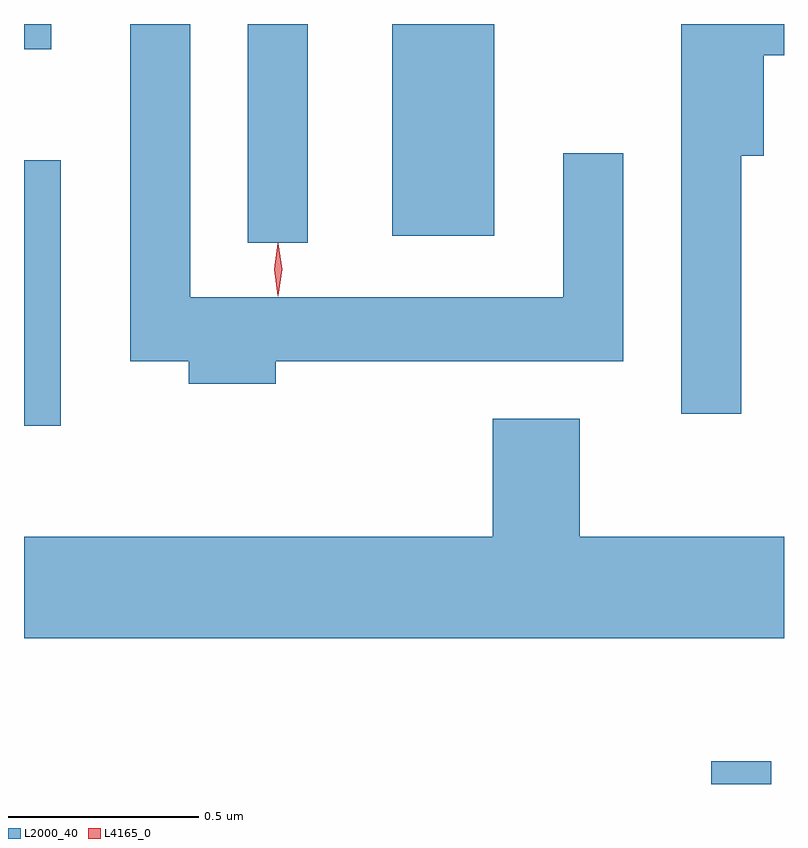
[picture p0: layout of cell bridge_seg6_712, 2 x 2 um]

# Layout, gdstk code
import gdstk
lib = gdstk.Library(unit=1e-6, precision=1e-09)
def R(c, l, rs):  # rectangles x0, y0, x1, y1
    for r in rs: c.add(gdstk.rectangle(r[:2], r[2:], *l))
def P(c, l, *ps):  # polygons
    for p in ps: c.add(gdstk.Polygon(p, *l))
L2000_40 = (2000, 40)
L4165_0 = (4165, 0)

bridge_seg6_712 = lib.new_cell('bridge_seg6_712')
R(bridge_seg6_712, L2000_40, [(308.966,1578.513,309.124,1578.573), (307.157,1579.456,307.254,1580.154), (307.746,1579.938,307.904,1580.513), (308.126,1579.956,308.394,1580.513), (307.157,1580.446,307.229,1580.513)])
P(bridge_seg6_712, L2000_40, [(307.819,1579.626),(308.734,1579.626),(308.734,1580.173),(308.576,1580.173),(308.576,1579.794),(307.594,1579.794),(307.594,1580.513),(307.436,1580.513),(307.436,1579.626),(307.591,1579.626),(307.591,1579.566),(307.819,1579.566)],
  [(309.044,1580.166),(309.104,1580.166),(309.104,1580.431),(309.157,1580.431),(309.157,1580.513),(308.886,1580.513),(308.886,1579.488),(309.044,1579.488)],
  [(309.157,1579.164),(308.619,1579.164),(308.619,1579.474),(308.391,1579.474),(308.391,1579.164),(307.157,1579.164),(307.157,1578.896),(309.157,1578.896)])
P(bridge_seg6_712, L4165_0, [(307.826,1579.797),(307.825,1579.798),(307.815,1579.867),(307.825,1579.936),(307.826,1579.936),(307.826,1579.936),(307.836,1579.867),(307.826,1579.798)],
  [(307.825,1579.799),(307.825,1579.8),(307.815,1579.866),(307.825,1579.932),(307.825,1579.933),(307.826,1579.932),(307.835,1579.866),(307.826,1579.8)])

lib.write_gds('bridge_seg6_712.gds')
